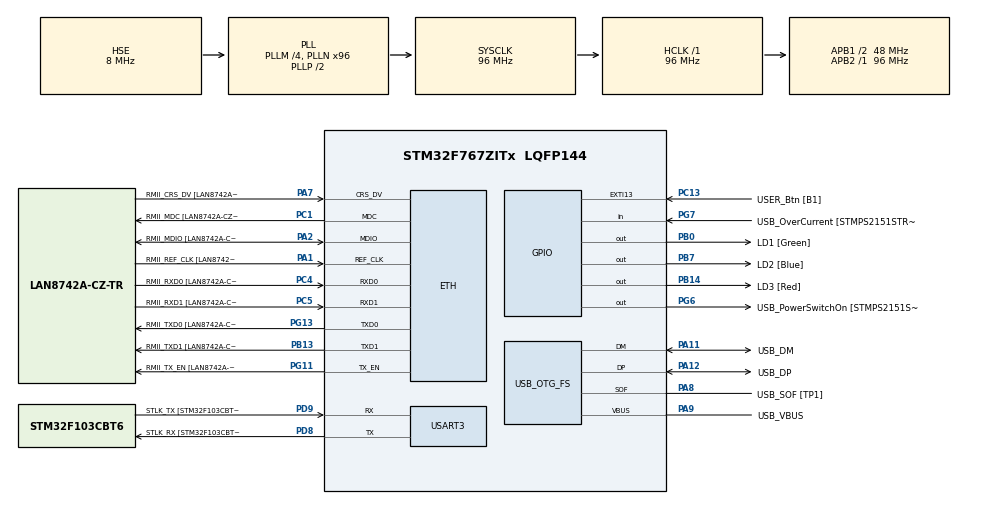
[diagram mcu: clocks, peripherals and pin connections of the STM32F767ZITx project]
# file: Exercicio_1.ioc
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ETH.MediaInterface=HAL_ETH_RMII_MODE
ETH.PHY_Name=LAN8742A_PHY_ADDRESS
ETH.PHY_Value=0
ETH.PhyAddress=0
FREERTOS.CountingSemaphores01=Sem01,2,Dynamic,NULL,2
FREERTOS.Tasks01=Task01,24,128,Task_01,Default,NULL,Dynamic,NULL,NULL;Task02,8,128,Task_02,Default,NULL,Dynamic,NULL,NULL;Task03,8,128,Task_03,Default,NULL,Dynamic,NULL,NULL
Mcu.Family=STM32F7
Mcu.Name=STM32F767ZITx
Mcu.Package=LQFP144
NVIC.EXTI15_10_IRQn=true\:5\:0\:false\:false\:true\:true\:true\:true\:true
NVIC.PriorityGroup=NVIC_PRIORITYGROUP_4
NVIC.TIM1_UP_TIM10_IRQn=true\:15\:0\:false\:false\:true\:false\:false\:true\:true
NVIC.TimeBase=TIM1_UP_TIM10_IRQn
NVIC.TimeBaseIP=TIM1
PA1.GPIO_Label=RMII_REF_CLK [LAN8742A-CZ-TR_REFCLK0]
PA1.Mode=RMII
PA1.Signal=ETH_REF_CLK
PA10.GPIO_Label=USB_ID
PA10.Signal=USB_OTG_FS_ID
PA11.GPIO_Label=USB_DM
PA11.Mode=Device_Only
PA11.Signal=USB_OTG_FS_DM
PA12.GPIO_Label=USB_DP
PA12.Mode=Device_Only
PA12.Signal=USB_OTG_FS_DP
PA13.GPIO_Label=TMS
PA13.Mode=Serial_Wire
PA13.Signal=SYS_JTMS-SWDIO
PA14.GPIO_Label=TCK
PA14.Mode=Serial_Wire
PA14.Signal=SYS_JTCK-SWCLK
PA2.GPIO_Label=RMII_MDIO [LAN8742A-CZ-TR_MDIO]
PA2.Mode=RMII
PA2.Signal=ETH_MDIO
PA7.GPIO_Label=RMII_CRS_DV [LAN8742A-CZ-TR_CRS_DV]
PA7.Mode=RMII
PA7.Signal=ETH_CRS_DV
PA8.GPIO_Label=USB_SOF [TP1]
PA8.Mode=Activate_SOF_FS
PA8.Signal=USB_OTG_FS_SOF
PA9.GPIO_Label=USB_VBUS
PA9.Mode=Activate_VBUS
PA9.Signal=USB_OTG_FS_VBUS
PB0.GPIO_Label=LD1 [Green]
PB0.Signal=GPIO_Output
PB13.GPIO_Label=RMII_TXD1 [LAN8742A-CZ-TR_TXD1]
PB13.Mode=RMII
PB13.Signal=ETH_TXD1
PB14.GPIO_Label=LD3 [Red]
PB14.Signal=GPIO_Output
PB3.GPIO_Label=SWO
PB3.Signal=SYS_JTDO-SWO
PB7.GPIO_Label=LD2 [Blue]
PB7.Signal=GPIO_Output
PC1.GPIO_Label=RMII_MDC [LAN8742A-CZ-TR_MDC]
PC1.Mode=RMII
PC1.Signal=ETH_MDC
PC13.GPIO_Label=USER_Btn [B1]
PC13.Signal=GPXTI13
PC14/OSC32_IN.Mode=LSE-External-Oscillator
PC14/OSC32_IN.Signal=RCC_OSC32_IN
PC15/OSC32_OUT.Mode=LSE-External-Oscillator
PC15/OSC32_OUT.Signal=RCC_OSC32_OUT
PC4.GPIO_Label=RMII_RXD0 [LAN8742A-CZ-TR_RXD0]
PC4.Mode=RMII
PC4.Signal=ETH_RXD0
PC5.GPIO_Label=RMII_RXD1 [LAN8742A-CZ-TR_RXD1]
PC5.Mode=RMII
PC5.Signal=ETH_RXD1
PD8.GPIO_Label=STLK_RX [STM32F103CBT6_PA3]
PD8.Mode=Asynchronous
PD8.Signal=USART3_TX
PD9.GPIO_Label=STLK_TX [STM32F103CBT6_PA2]
PD9.Mode=Asynchronous
PD9.Signal=USART3_RX
PG11.GPIO_Label=RMII_TX_EN [LAN8742A-CZ-TR_TXEN]
PG11.Mode=RMII
PG11.Signal=ETH_TX_EN
PG13.GPIO_Label=RMII_TXD0 [LAN8742A-CZ-TR_TXD0]
PG13.Mode=RMII
PG13.Signal=ETH_TXD0
PG6.GPIO_Label=USB_PowerSwitchOn [STMPS2151STR_EN]
PG6.Signal=GPIO_Output
PG7.GPIO_Label=USB_OverCurrent [STMPS2151STR_FAULT]
PG7.Signal=GPIO_Input
PH0/OSC_IN.GPIO_Label=MCO [STM32F103CBT6_PA8]
PH0/OSC_IN.Mode=HSE-External-Clock-Source
PH0/OSC_IN.Signal=RCC_OSC_IN
PH1/OSC_OUT.Mode=HSE-External-Clock-Source
PH1/OSC_OUT.Signal=RCC_OSC_OUT
ProjectManager.HeapSize=0x200
ProjectManager.StackSize=0x400
ProjectManager.TargetToolchain=STM32CubeIDE
RCC.48MHZClocksFreq_Value=24000000
RCC.AHBFreq_Value=96000000
RCC.APB1CLKDivider=RCC_HCLK_DIV2
RCC.APB1Freq_Value=48000000
RCC.APB1TimFreq_Value=96000000
RCC.APB2Freq_Value=96000000
RCC.APB2TimFreq_Value=96000000
RCC.CortexFreq_Value=96000000
RCC.HCLKFreq_Value=96000000
RCC.HSE_VALUE=8000000
RCC.HSI_VALUE=16000000
RCC.PLLM=4
RCC.PLLMUL=RCC_PLL_MUL9
RCC.PLLN=96
RCC.PLLQ=4
RCC.PRESCALERUSB=RCC_USBCLKSOURCE_PLL_DIV1_5
RCC.SYSCLKFreq_VALUE=96000000
RCC.SYSCLKSource=RCC_SYSCLKSOURCE_PLLCLK
RCC.SYSCLKSourceVirtual=RCC_SYSCLKSOURCE_PLLCLK
RCC.USBFreq_Value=48000000
RCC.VCOOutputFreq_Value=192000000
USART3.VirtualMode-Asynchronous=VM_ASYNC
USB_OTG_FS.VirtualMode=Device_Only
VP_FREERTOS_VS_CMSIS_V2.Mode=CMSIS_V2
VP_SYS_VS_tim1.Mode=TIM1
board=NUCLEO-F767ZI

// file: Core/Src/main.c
/* USER CODE BEGIN Header */
/**
  ******************************************************************************
  * @file           : main.c
  * @brief          : Main program body
  ******************************************************************************
  * @attention
  *
  * Copyright (c) 2025 STMicroelectronics.
  * All rights reserved.
  *
  * This software is licensed under terms that can be found in the LICENSE file
  * in the root directory of this software component.
  * If no LICENSE file comes with this software, it is provided AS-IS.
  *
  ******************************************************************************
  */
/* USER CODE END Header */
#include "main.h"
#include "string.h"
#include "cmsis_os.h"

#if defined ( __ICCARM__ ) /*!< IAR Compiler */
#pragma location=0x2007c000
ETH_DMADescTypeDef  DMARxDscrTab[ETH_RX_DESC_CNT]; /* Ethernet Rx DMA Descriptors */
#pragma location=0x2007c0a0
ETH_DMADescTypeDef  DMATxDscrTab[ETH_TX_DESC_CNT]; /* Ethernet Tx DMA Descriptors */

#elif defined ( __CC_ARM )  /* MDK ARM Compiler */

__attribute__((at(0x2007c000))) ETH_DMADescTypeDef  DMARxDscrTab[ETH_RX_DESC_CNT]; /* Ethernet Rx DMA Descriptors */
__attribute__((at(0x2007c0a0))) ETH_DMADescTypeDef  DMATxDscrTab[ETH_TX_DESC_CNT]; /* Ethernet Tx DMA Descriptors */

#elif defined ( __GNUC__ ) /* GNU Compiler */

ETH_DMADescTypeDef DMARxDscrTab[ETH_RX_DESC_CNT] __attribute__((section(".RxDecripSection"))); /* Ethernet Rx DMA Descriptors */
ETH_DMADescTypeDef DMATxDscrTab[ETH_TX_DESC_CNT] __attribute__((section(".TxDecripSection")));   /* Ethernet Tx DMA Descriptors */
#endif

ETH_TxPacketConfig TxConfig;

ETH_HandleTypeDef heth;

UART_HandleTypeDef huart3;

PCD_HandleTypeDef hpcd_USB_OTG_FS;

/* Definitions for Task01 */
osThreadId_t Task01Handle;
const osThreadAttr_t Task01_attributes = {
  .name = "Task01",
  .stack_size = 128 * 4,
  .priority = (osPriority_t) osPriorityNormal,
};
/* Definitions for Task02 */
osThreadId_t Task02Handle;
const osThreadAttr_t Task02_attributes = {
  .name = "Task02",
  .stack_size = 128 * 4,
  .priority = (osPriority_t) osPriorityLow,
};
/* Definitions for Task03 */
osThreadId_t Task03Handle;
const osThreadAttr_t Task03_attributes = {
  .name = "Task03",
  .stack_size = 128 * 4,
  .priority = (osPriority_t) osPriorityLow,
};
/* Definitions for Sem01 */
osSemaphoreId_t Sem01Handle;
const osSemaphoreAttr_t Sem01_attributes = {
  .name = "Sem01"
};

void SystemClock_Config(void);
static void MX_GPIO_Init(void);
static void MX_ETH_Init(void);
static void MX_USART3_UART_Init(void);
static void MX_USB_OTG_FS_PCD_Init(void);
void Task_01(void *argument);
void Task_02(void *argument);
void Task_03(void *argument);

int main(void)
{

  /* MCU Configuration--------------------------------------------------------*/

  /* Reset of all peripherals, Initializes the Flash interface and the Systick. */
  HAL_Init();

  /* Configure the system clock */
  SystemClock_Config();

  /* Initialize all configured peripherals */
  MX_GPIO_Init();
  MX_ETH_Init();
  MX_USART3_UART_Init();
  MX_USB_OTG_FS_PCD_Init();

  /* Init scheduler */
  osKernelInitialize();

  /* Create the semaphores(s) */
  /* creation of Sem01 */
  Sem01Handle = osSemaphoreNew(2, 2, &Sem01_attributes);

  /* Create the thread(s) */
  /* creation of Task01 */
  Task01Handle = osThreadNew(Task_01, NULL, &Task01_attributes);

  /* creation of Task02 */
  Task02Handle = osThreadNew(Task_02, NULL, &Task02_attributes);

  /* creation of Task03 */
  Task03Handle = osThreadNew(Task_03, NULL, &Task03_attributes);

  /* Start scheduler */
  osKernelStart();

  /* We should never get here as control is now taken by the scheduler */

  /* Infinite loop */
  while (1)
  {

  }
}

void SystemClock_Config(void)
{
  RCC_OscInitTypeDef RCC_OscInitStruct = {0};
  RCC_ClkInitTypeDef RCC_ClkInitStruct = {0};

  /** Configure LSE Drive Capability
  */
  HAL_PWR_EnableBkUpAccess();

  /** Configure the main internal regulator output voltage
  */
  __HAL_RCC_PWR_CLK_ENABLE();
  __HAL_PWR_VOLTAGESCALING_CONFIG(PWR_REGULATOR_VOLTAGE_SCALE3);

  /** Initializes the RCC Oscillators according to the specified parameters
  * in the RCC_OscInitTypeDef structure.
  */
  RCC_OscInitStruct.OscillatorType = RCC_OSCILLATORTYPE_HSE;
  RCC_OscInitStruct.HSEState = RCC_HSE_BYPASS;
  RCC_OscInitStruct.PLL.PLLState = RCC_PLL_ON;
  RCC_OscInitStruct.PLL.PLLSource = RCC_PLLSOURCE_HSE;
  RCC_OscInitStruct.PLL.PLLM = 4;
  RCC_OscInitStruct.PLL.PLLN = 96;
  RCC_OscInitStruct.PLL.PLLP = RCC_PLLP_DIV2;
  RCC_OscInitStruct.PLL.PLLQ = 4;
  RCC_OscInitStruct.PLL.PLLR = 2;
  if (HAL_RCC_OscConfig(&RCC_OscInitStruct) != HAL_OK)
  {
    Error_Handler();
  }

  /** Activate the Over-Drive mode
  */
  if (HAL_PWREx_EnableOverDrive() != HAL_OK)
  {
    Error_Handler();
  }

  /** Initializes the CPU, AHB and APB buses clocks
  */
  RCC_ClkInitStruct.ClockType = RCC_CLOCKTYPE_HCLK|RCC_CLOCKTYPE_SYSCLK
                              |RCC_CLOCKTYPE_PCLK1|RCC_CLOCKTYPE_PCLK2;
  RCC_ClkInitStruct.SYSCLKSource = RCC_SYSCLKSOURCE_PLLCLK;
  RCC_ClkInitStruct.AHBCLKDivider = RCC_SYSCLK_DIV1;
  RCC_ClkInitStruct.APB1CLKDivider = RCC_HCLK_DIV2;
  RCC_ClkInitStruct.APB2CLKDivider = RCC_HCLK_DIV1;

  if (HAL_RCC_ClockConfig(&RCC_ClkInitStruct, FLASH_LATENCY_3) != HAL_OK)
  {
    Error_Handler();
  }
}

static void MX_ETH_Init(void)
{

   static uint8_t MACAddr[6];

  heth.Instance = ETH;
  MACAddr[0] = 0x00;
  MACAddr[1] = 0x80;
  MACAddr[2] = 0xE1;
  MACAddr[3] = 0x00;
  MACAddr[4] = 0x00;
  MACAddr[5] = 0x00;
  heth.Init.MACAddr = &MACAddr[0];
  heth.Init.MediaInterface = HAL_ETH_RMII_MODE;
  heth.Init.TxDesc = DMATxDscrTab;
  heth.Init.RxDesc = DMARxDscrTab;
  heth.Init.RxBuffLen = 1524;

  if (HAL_ETH_Init(&heth) != HAL_OK)
  {
    Error_Handler();
  }

  memset(&TxConfig, 0 , sizeof(ETH_TxPacketConfig));
  TxConfig.Attributes = ETH_TX_PACKETS_FEATURES_CSUM | ETH_TX_PACKETS_FEATURES_CRCPAD;
  TxConfig.ChecksumCtrl = ETH_CHECKSUM_IPHDR_PAYLOAD_INSERT_PHDR_CALC;
  TxConfig.CRCPadCtrl = ETH_CRC_PAD_INSERT;

}

static void MX_USART3_UART_Init(void)
{

  huart3.Instance = USART3;
  huart3.Init.BaudRate = 115200;
  huart3.Init.WordLength = UART_WORDLENGTH_8B;
  huart3.Init.StopBits = UART_STOPBITS_1;
  huart3.Init.Parity = UART_PARITY_NONE;
  huart3.Init.Mode = UART_MODE_TX_RX;
  huart3.Init.HwFlowCtl = UART_HWCONTROL_NONE;
  huart3.Init.OverSampling = UART_OVERSAMPLING_16;
  huart3.Init.OneBitSampling = UART_ONE_BIT_SAMPLE_DISABLE;
  huart3.AdvancedInit.AdvFeatureInit = UART_ADVFEATURE_NO_INIT;
  if (HAL_UART_Init(&huart3) != HAL_OK)
  {
    Error_Handler();
  }

}

static void MX_USB_OTG_FS_PCD_Init(void)
{

  hpcd_USB_OTG_FS.Instance = USB_OTG_FS;
  hpcd_USB_OTG_FS.Init.dev_endpoints = 6;
  hpcd_USB_OTG_FS.Init.speed = PCD_SPEED_FULL;
  hpcd_USB_OTG_FS.Init.dma_enable = DISABLE;
  hpcd_USB_OTG_FS.Init.phy_itface = PCD_PHY_EMBEDDED;
  hpcd_USB_OTG_FS.Init.Sof_enable = ENABLE;
  hpcd_USB_OTG_FS.Init.low_power_enable = DISABLE;
  hpcd_USB_OTG_FS.Init.lpm_enable = DISABLE;
  hpcd_USB_OTG_FS.Init.vbus_sensing_enable = ENABLE;
  hpcd_USB_OTG_FS.Init.use_dedicated_ep1 = DISABLE;
  if (HAL_PCD_Init(&hpcd_USB_OTG_FS) != HAL_OK)
  {
    Error_Handler();
  }

}

static void MX_GPIO_Init(void)
{
  GPIO_InitTypeDef GPIO_InitStruct = {0};

  /* GPIO Ports Clock Enable */
  __HAL_RCC_GPIOC_CLK_ENABLE();
  __HAL_RCC_GPIOH_CLK_ENABLE();
  __HAL_RCC_GPIOA_CLK_ENABLE();
  __HAL_RCC_GPIOB_CLK_ENABLE();
  __HAL_RCC_GPIOD_CLK_ENABLE();
  __HAL_RCC_GPIOG_CLK_ENABLE();

  /*Configure GPIO pin Output Level */
  HAL_GPIO_WritePin(GPIOB, LD1_Pin|LD3_Pin|LD2_Pin, GPIO_PIN_RESET);

  /*Configure GPIO pin Output Level */
  HAL_GPIO_WritePin(USB_PowerSwitchOn_GPIO_Port, USB_PowerSwitchOn_Pin, GPIO_PIN_RESET);

  /*Configure GPIO pin : USER_Btn_Pin */
  GPIO_InitStruct.Pin = USER_Btn_Pin;
  GPIO_InitStruct.Mode = GPIO_MODE_IT_RISING;
  GPIO_InitStruct.Pull = GPIO_NOPULL;
  HAL_GPIO_Init(USER_Btn_GPIO_Port, &GPIO_InitStruct);

  /*Configure GPIO pins : LD1_Pin LD3_Pin LD2_Pin */
  GPIO_InitStruct.Pin = LD1_Pin|LD3_Pin|LD2_Pin;
  GPIO_InitStruct.Mode = GPIO_MODE_OUTPUT_PP;
  GPIO_InitStruct.Pull = GPIO_NOPULL;
  GPIO_InitStruct.Speed = GPIO_SPEED_FREQ_LOW;
  HAL_GPIO_Init(GPIOB, &GPIO_InitStruct);

  /*Configure GPIO pin : USB_PowerSwitchOn_Pin */
  GPIO_InitStruct.Pin = USB_PowerSwitchOn_Pin;
  GPIO_InitStruct.Mode = GPIO_MODE_OUTPUT_PP;
  GPIO_InitStruct.Pull = GPIO_NOPULL;
  GPIO_InitStruct.Speed = GPIO_SPEED_FREQ_LOW;
  HAL_GPIO_Init(USB_PowerSwitchOn_GPIO_Port, &GPIO_InitStruct);

  /*Configure GPIO pin : USB_OverCurrent_Pin */
  GPIO_InitStruct.Pin = USB_OverCurrent_Pin;
  GPIO_InitStruct.Mode = GPIO_MODE_INPUT;
  GPIO_InitStruct.Pull = GPIO_NOPULL;
  HAL_GPIO_Init(USB_OverCurrent_GPIO_Port, &GPIO_InitStruct);

  /* EXTI interrupt init*/
  HAL_NVIC_SetPriority(EXTI15_10_IRQn, 5, 0);
  HAL_NVIC_EnableIRQ(EXTI15_10_IRQn);

}

void Task_01(void *argument)
{
  /* USER CODE BEGIN 5 */
  /* Infinite loop */
  for(;;)
  {

	  char *str1 = "Task 01 -> Entrando \n";
	  HAL_UART_Transmit(&huart3, (uint8_t *)str1, strlen(str1),100);
	  osDelay(1000);
	  osSemaphoreAcquire(Sem01Handle, osWaitForever);

	  uint8_t cont = osSemaphoreGetCount(Sem01Handle);
	  osDelay(1000);

  }
  /* USER CODE END 5 */
}

void Task_02(void *argument)
{
  /* USER CODE BEGIN Task_02 */
  /* Infinite loop */
  for(;;)
  {

	  char *str2 = "Task 02 -> Entrando \n";
	  HAL_UART_Transmit(&huart3, (uint8_t *)str2, strlen(str2),100);
	  osDelay(1000);
	  osSemaphoreAcquire(Sem01Handle, osWaitForever);

	  uint8_t cont = osSemaphoreGetCount(Sem01Handle);
	  osDelay(1000);

  }
  /* USER CODE END Task_02 */
}

void Task_03(void *argument)
{
  /* USER CODE BEGIN Task_03 */
  /* Infinite loop */
  for(;;)
  {

	  char *str3 = "Task 03 -> Entrando \n";
	  HAL_UART_Transmit(&huart3, (uint8_t *)str3, strlen(str3),100);
	  osDelay(1000);
	  osSemaphoreAcquire(Sem01Handle, osWaitForever);
  }
  /* USER CODE END Task_03 */
}

void HAL_TIM_PeriodElapsedCallback(TIM_HandleTypeDef *htim)
{
  if (htim->Instance == TIM1) {
    HAL_IncTick();
  }
}

void Error_Handler(void)
{
  __disable_irq();
  while (1)
  {
  }
}
